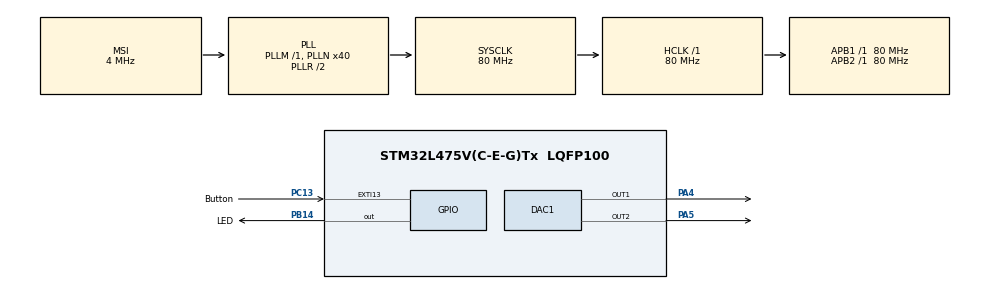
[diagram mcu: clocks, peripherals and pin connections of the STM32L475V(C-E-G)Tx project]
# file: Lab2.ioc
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Mcu.Family=STM32L4
RCC.MSI_VALUE=4000000
RCC.CortexFreq_Value=80000000
DAC1.DAC_Channel-DAC_OUT2=DAC_CHANNEL_2
SH.COMP_DAC12_group.0=DAC1_OUT2,DAC_OUT2
PC13.Signal=GPXTI13
PB14.GPIO_Label=LED
PC13.GPIO_Label=Button
RCC.SYSCLKSource=RCC_SYSCLKSOURCE_PLLCLK
ProjectManager.StackSize=0x400
PB3\ (JTDO-TRACESWO).Signal=SYS_JTDO-SWO
ProjectManager.TargetToolchain=STM32CubeIDE
SH.COMP_DAC11_group.0=DAC1_OUT1,DAC_OUT1
RCC.HCLKFreq_Value=80000000
RCC.APB2TimFreq_Value=80000000
RCC.USBFreq_Value=48000000
RCC.LSE_VALUE=32768
RCC.AHBFreq_Value=80000000
PB14.Signal=GPIO_Output
PA5.Signal=COMP_DAC12_group
RCC.HSE_VALUE=8000000
board=B-L475E-IOT01A1
RCC.VCOOutputFreq_Value=160000000
RCC.APB2Freq_Value=80000000
RCC.ADCFreq_Value=48000000
Mcu.Name=STM32L475V(C-E-G)Tx
PA4.Signal=COMP_DAC11_group
RCC.SYSCLKFreq_VALUE=80000000
Mcu.Package=LQFP100
ProjectManager.HeapSize=0x200
RCC.HSI_VALUE=16000000
NVIC.PriorityGroup=NVIC_PRIORITYGROUP_4
RCC.PLLN=40
RCC.APB1TimFreq_Value=80000000
PA13\ (JTMS-SWDIO).Signal=SYS_JTMS-SWDIO
RCC.APB1Freq_Value=80000000
RCC.PLLSAI1N=24

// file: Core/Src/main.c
/* USER CODE BEGIN Header */
/**
  ******************************************************************************
  * @file           : main.c
  * @brief          : Main program body
  ******************************************************************************
  * @attention
  *
  * <h2><center>&copy; Copyright (c) 2020 STMicroelectronics.
  * All rights reserved.</center></h2>
  *
  * This software component is licensed by ST under BSD 3-Clause license,
  * the "License"; You may not use this file except in compliance with the
  * License. You may obtain a copy of the License at:
  *                        opensource.org/licenses/BSD-3-Clause
  *
  ******************************************************************************
  */
/* USER CODE END Header */
#include "main.h"

/* USER CODE BEGIN Includes */
#define ARM_MATH_CM4
#include "arm_math.h"
/* USER CODE END Includes */

DAC_HandleTypeDef hdac1;

void SystemClock_Config(void);
static void MX_GPIO_Init(void);
static void MX_DAC1_Init(void);

int main(void)
{

  /* MCU Configuration--------------------------------------------------------*/

  /* Reset of all peripherals, Initializes the Flash interface and the Systick. */
  HAL_Init();

  /* Configure the system clock */
  SystemClock_Config();

  /* Initialize all configured peripherals */
  MX_GPIO_Init();
  MX_DAC1_Init();
  /* USER CODE BEGIN 2 */
  int counterMax = 16;
  int counter = 0;
  uint8_t triangle = 0;
  uint8_t saw = 0;
  uint32_t sine = 0;
  uint32_t delay = 1;
  HAL_DAC_Start(&hdac1, DAC_CHANNEL_1);
  HAL_DAC_Start(&hdac1, DAC_CHANNEL_2);

  /* USER CODE END 2 */

  /* Infinite loop */
  while (1)
  {

    /* USER CODE BEGIN 3 */
	//LED

		if(HAL_GPIO_ReadPin(Button_GPIO_Port, Button_Pin)==GPIO_PIN_RESET){
			HAL_GPIO_WritePin(LED_GPIO_Port, LED_Pin, GPIO_PIN_SET);
		}else{
			HAL_GPIO_WritePin(LED_GPIO_Port, LED_Pin, GPIO_PIN_RESET);
		}

	if (counter < 8){
		triangle = (counter+1)*20;
	}else{
		triangle = 300 - counter*20;
	}
	saw = counter*14;

	//sine = 100*sin(2*3.14159265358979323846*counter/counterMax)+100;	//also works
	sine =  100 * arm_sin_f32(2*3.14159265358979323846*counter/counterMax) + 100;
	HAL_DAC_SetValue(&hdac1, DAC_CHANNEL_1, DAC_ALIGN_8B_R, sine);
	HAL_DAC_SetValue(&hdac1, DAC_CHANNEL_2, DAC_ALIGN_8B_R, saw);
	//HAL_DAC_SetValue(&hdac1, DAC_CHANNEL_2, DAC_ALIGN_8B_R, sine);
	counter = (counter + 1) % counterMax;
	HAL_Delay(delay);

  }
  /* USER CODE END 3 */
}

void SystemClock_Config(void)
{
  RCC_OscInitTypeDef RCC_OscInitStruct = {0};
  RCC_ClkInitTypeDef RCC_ClkInitStruct = {0};

  /** Initializes the RCC Oscillators according to the specified parameters
  * in the RCC_OscInitTypeDef structure.
  */
  RCC_OscInitStruct.OscillatorType = RCC_OSCILLATORTYPE_MSI;
  RCC_OscInitStruct.MSIState = RCC_MSI_ON;
  RCC_OscInitStruct.MSICalibrationValue = 0;
  RCC_OscInitStruct.MSIClockRange = RCC_MSIRANGE_6;
  RCC_OscInitStruct.PLL.PLLState = RCC_PLL_ON;
  RCC_OscInitStruct.PLL.PLLSource = RCC_PLLSOURCE_MSI;
  RCC_OscInitStruct.PLL.PLLM = 1;
  RCC_OscInitStruct.PLL.PLLN = 40;
  RCC_OscInitStruct.PLL.PLLP = RCC_PLLP_DIV7;
  RCC_OscInitStruct.PLL.PLLQ = RCC_PLLQ_DIV2;
  RCC_OscInitStruct.PLL.PLLR = RCC_PLLR_DIV2;
  if (HAL_RCC_OscConfig(&RCC_OscInitStruct) != HAL_OK)
  {
    Error_Handler();
  }
  /** Initializes the CPU, AHB and APB buses clocks
  */
  RCC_ClkInitStruct.ClockType = RCC_CLOCKTYPE_HCLK|RCC_CLOCKTYPE_SYSCLK
                              |RCC_CLOCKTYPE_PCLK1|RCC_CLOCKTYPE_PCLK2;
  RCC_ClkInitStruct.SYSCLKSource = RCC_SYSCLKSOURCE_PLLCLK;
  RCC_ClkInitStruct.AHBCLKDivider = RCC_SYSCLK_DIV1;
  RCC_ClkInitStruct.APB1CLKDivider = RCC_HCLK_DIV1;
  RCC_ClkInitStruct.APB2CLKDivider = RCC_HCLK_DIV1;

  if (HAL_RCC_ClockConfig(&RCC_ClkInitStruct, FLASH_LATENCY_4) != HAL_OK)
  {
    Error_Handler();
  }
  /** Configure the main internal regulator output voltage
  */
  if (HAL_PWREx_ControlVoltageScaling(PWR_REGULATOR_VOLTAGE_SCALE1) != HAL_OK)
  {
    Error_Handler();
  }
}

static void MX_DAC1_Init(void)
{

  DAC_ChannelConfTypeDef sConfig = {0};

  /** DAC Initialization
  */
  hdac1.Instance = DAC1;
  if (HAL_DAC_Init(&hdac1) != HAL_OK)
  {
    Error_Handler();
  }
  /** DAC channel OUT1 config
  */
  sConfig.DAC_SampleAndHold = DAC_SAMPLEANDHOLD_DISABLE;
  sConfig.DAC_Trigger = DAC_TRIGGER_NONE;
  sConfig.DAC_OutputBuffer = DAC_OUTPUTBUFFER_ENABLE;
  sConfig.DAC_ConnectOnChipPeripheral = DAC_CHIPCONNECT_DISABLE;
  sConfig.DAC_UserTrimming = DAC_TRIMMING_FACTORY;
  if (HAL_DAC_ConfigChannel(&hdac1, &sConfig, DAC_CHANNEL_1) != HAL_OK)
  {
    Error_Handler();
  }
  /** DAC channel OUT2 config
  */
  sConfig.DAC_ConnectOnChipPeripheral = DAC_CHIPCONNECT_DISABLE;
  if (HAL_DAC_ConfigChannel(&hdac1, &sConfig, DAC_CHANNEL_2) != HAL_OK)
  {
    Error_Handler();
  }

}

static void MX_GPIO_Init(void)
{
  GPIO_InitTypeDef GPIO_InitStruct = {0};

  /* GPIO Ports Clock Enable */
  __HAL_RCC_GPIOC_CLK_ENABLE();
  __HAL_RCC_GPIOA_CLK_ENABLE();
  __HAL_RCC_GPIOB_CLK_ENABLE();

  /*Configure GPIO pin Output Level */
  HAL_GPIO_WritePin(LED_GPIO_Port, LED_Pin, GPIO_PIN_RESET);

  /*Configure GPIO pin : Button_Pin */
  GPIO_InitStruct.Pin = Button_Pin;
  GPIO_InitStruct.Mode = GPIO_MODE_IT_RISING;
  GPIO_InitStruct.Pull = GPIO_NOPULL;
  HAL_GPIO_Init(Button_GPIO_Port, &GPIO_InitStruct);

  /*Configure GPIO pin : LED_Pin */
  GPIO_InitStruct.Pin = LED_Pin;
  GPIO_InitStruct.Mode = GPIO_MODE_OUTPUT_PP;
  GPIO_InitStruct.Pull = GPIO_NOPULL;
  GPIO_InitStruct.Speed = GPIO_SPEED_FREQ_LOW;
  HAL_GPIO_Init(LED_GPIO_Port, &GPIO_InitStruct);

}

void Error_Handler(void)
{
}

/************************ (C) COPYRIGHT STMicroelectronics *****END OF FILE****/
